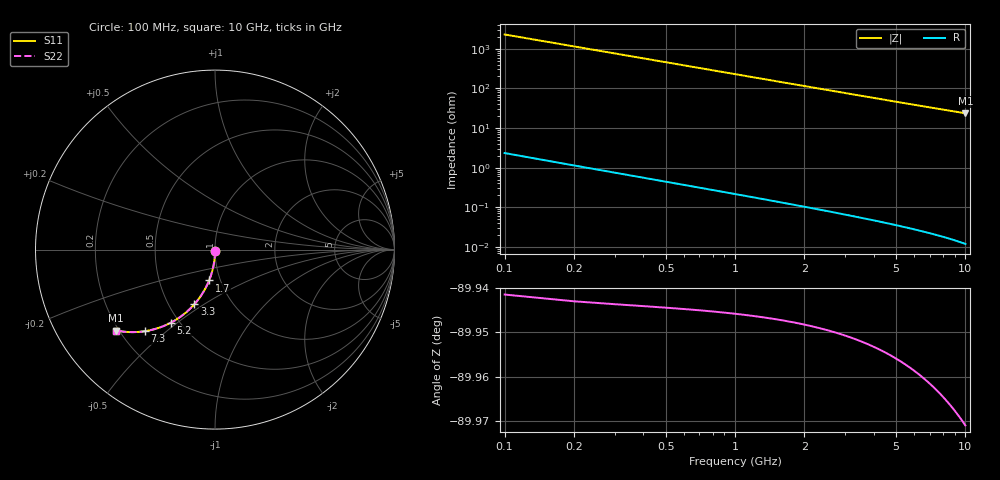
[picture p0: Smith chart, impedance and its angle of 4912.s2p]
# Hz S RI R 50.00
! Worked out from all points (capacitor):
!   100 points, 100 MHz to 10 GHz, reference 50 ohm
!   read as one part in shunt: C = 695 fF near 100 MHz
!   lowest |Z| = 23.6 ohm at 10 GHz (marker M1)
!   S11 on the Smith chart (normalised r, x): 100 MHz: 1.00, -0.02; 1.7 GHz: 0.88, -0.31; 3.3 GHz: 0.67, -0.46; 5.2 GHz: 0.45, -0.47; 7.3 GHz: 0.30, -0.42; 10 GHz: 0.19, -0.35
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1e8  0.000374 -0.0105  0.9994 -0.0114  0.9994 -0.0114  0.000374 -0.0105
2e8  9.54e-06 -0.0209  0.999 -0.0227  0.999 -0.0227  9.54e-06 -0.0209
3e8  -0.000593 -0.0314  0.9984 -0.0341  0.9984 -0.0341  -0.000593 -0.0314
4e8  -0.00143 -0.0418  0.9975 -0.0454  0.9975 -0.0454  -0.00143 -0.0418
5e8  -0.00251 -0.0522  0.9965 -0.0567  0.9965 -0.0567  -0.00251 -0.0522
6e8  -0.00382 -0.0625  0.9951 -0.0679  0.9951 -0.0679  -0.00382 -0.0625
8e8  -0.00713 -0.0831  0.9918 -0.0903  0.9918 -0.0903  -0.00713 -0.0831
1.1e9  -0.0138 -0.1135  0.9851 -0.1234  0.9851 -0.1234  -0.0138 -0.1135
1.4e9  -0.0224 -0.1431  0.9764 -0.1557  0.9764 -0.1557  -0.0224 -0.1431
1.7e9  -0.0329 -0.1718  0.9659 -0.1871  0.9659 -0.1871  -0.0329 -0.1718
1.8e9  -0.0368 -0.1812  0.962 -0.1974  0.962 -0.1974  -0.0368 -0.1812
2.1e9  -0.0496 -0.2085  0.9491 -0.2274  0.9491 -0.2274  -0.0496 -0.2085
2.5e9  -0.0691 -0.2429  0.9296 -0.2655  0.9296 -0.2655  -0.0691 -0.2429
3.3e9  -0.1148 -0.3043  0.8836 -0.3341  0.8836 -0.3341  -0.1148 -0.3043
3.4e9  -0.1211 -0.3113  0.8773 -0.342  0.8773 -0.342  -0.1211 -0.3113
4.2e9  -0.1741 -0.3605  0.8241 -0.3984  0.8241 -0.3984  -0.1741 -0.3605
5.1e9  -0.2376 -0.4027  0.7602 -0.4488  0.7602 -0.4488  -0.2376 -0.4027
5.2e9  -0.2448 -0.4065  0.753 -0.4536  0.753 -0.4536  -0.2448 -0.4065
6.7e9  -0.3511 -0.4468  0.6459 -0.5076  0.6459 -0.5076  -0.3511 -0.4468
7.3e9  -0.3916 -0.4547  0.605 -0.5211  0.605 -0.5211  -0.3916 -0.4547
8.4e9  -0.4613 -0.4598  0.5346 -0.5364  0.5346 -0.5364  -0.4613 -0.4598
1e10  -0.5501 -0.4508  0.4445 -0.5424  0.4445 -0.5424  -0.5501 -0.4508
